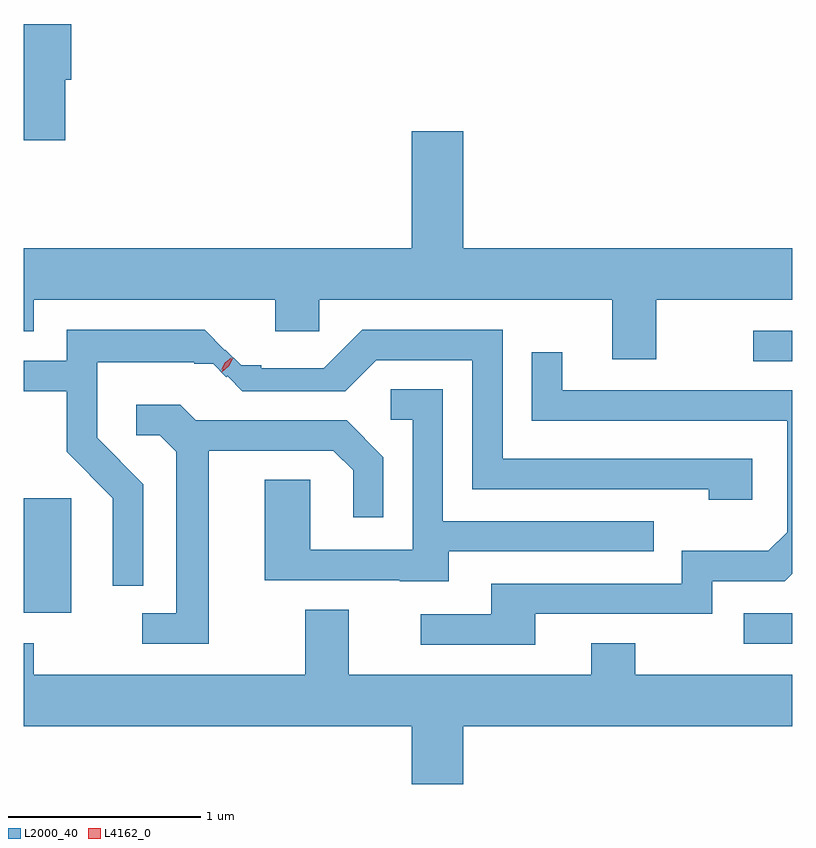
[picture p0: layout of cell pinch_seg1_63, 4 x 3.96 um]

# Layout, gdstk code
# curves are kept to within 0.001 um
import gdstk
lib = gdstk.Library(unit=1e-6, precision=1e-09)
def R(c, l, rs):  # rectangles x0, y0, x1, y1
    for r in rs: c.add(gdstk.rectangle(r[:2], r[2:], *l))
def P(c, l, *ps):  # polygons
    for p in ps: c.add(gdstk.Polygon(p, *l))
L2000_40 = (2000, 40)
L4162_0 = (4162, 0)

pinch_seg1_63 = lib.new_cell('pinch_seg1_63')
R(pinch_seg1_63, L2000_40, [(1035.983,846.726,1036.237,846.884), (1032.237,846.886,1032.484,847.484), (1036.033,848.196,1036.237,848.354)])
P(pinch_seg1_63, L2000_40, [(1032.454,849.661),(1032.484,849.661),(1032.484,849.951),(1032.237,849.951),(1032.237,849.346),(1032.454,849.346)],
  [(1035.529,848.516),(1036.237,848.516),(1036.237,848.784),(1034.524,848.784),(1034.524,849.394),(1034.256,849.394),(1034.256,848.784),(1032.237,848.784),(1032.237,848.351),(1032.289,848.351),(1032.289,848.516),(1033.546,848.516),(1033.546,848.351),(1033.774,848.351),(1033.774,848.516),(1035.301,848.516),(1035.301,848.206),(1035.529,848.206)],
  [(1032.859,847.557),(1032.619,847.797),(1032.619,848.191),(1033.125,848.191),(1033.125,848.182),(1033.223,848.182),(1033.292,848.112),(1033.298,848.118),(1033.374,848.041),(1033.911,848.041),(1034.072,848.201),(1034.571,848.201),(1034.571,847.531),(1035.801,847.531),(1035.801,847.476),(1036.029,847.476),(1036.029,847.689),(1034.729,847.689),(1034.729,848.359),(1033.998,848.359),(1033.799,848.159),(1033.473,848.159),(1033.473,848.175),(1033.369,848.175),(1033.287,848.257),(1033.284,848.254),(1033.18,848.359),(1032.461,848.359),(1032.461,848.199),(1032.237,848.199),(1032.237,848.041),(1032.461,848.041),(1032.461,847.724),(1032.701,847.484),(1032.701,847.028),(1032.859,847.028)],
  [(1034.899,846.881),(1035.819,846.881),(1035.819,847.051),(1036.197,847.051),(1036.237,847.091),(1036.237,848.044),(1035.039,848.044),(1035.039,848.243),(1034.881,848.243),(1034.881,847.886),(1036.211,847.886),(1036.211,847.307),(1036.113,847.209),(1035.661,847.209),(1035.661,847.039),(1034.671,847.039),(1034.671,846.879),(1034.303,846.879),(1034.303,846.721),(1034.899,846.721)],
  [(1034.449,847.206),(1035.517,847.206),(1035.517,847.364),(1034.419,847.364),(1034.419,848.049),(1034.148,848.049),(1034.148,847.891),(1034.261,847.891),(1034.261,847.214),(1033.729,847.214),(1033.729,847.579),(1033.491,847.579),(1033.491,847.056),(1034.195,847.056),(1034.195,847.051),(1034.449,847.051)],
  [(1033.199,847.731),(1033.849,847.731),(1033.951,847.629),(1033.951,847.383),(1034.109,847.383),(1034.109,847.697),(1033.917,847.889),(1033.132,847.889),(1033.052,847.969),(1032.823,847.969),(1032.823,847.811),(1032.944,847.811),(1033.031,847.724),(1033.031,846.884),(1032.853,846.884),(1032.853,846.726),(1033.199,846.726)],
  [(1034.524,846.296),(1036.237,846.296),(1036.237,846.564),(1035.419,846.564),(1035.419,846.729),(1035.191,846.729),(1035.191,846.564),(1033.929,846.564),(1033.929,846.904),(1033.701,846.904),(1033.701,846.564),(1032.289,846.564),(1032.289,846.729),(1032.237,846.729),(1032.237,846.296),(1034.256,846.296),(1034.256,845.996),(1034.524,845.996)])
P(pinch_seg1_63, L4162_0, [(1033.264,848.151),(1033.264,848.152),(1033.283,848.189),(1033.318,848.214),(1033.318,848.214),(1033.318,848.214),(1033.299,848.176),(1033.265,848.151)],
  [(1033.268,848.14),(1033.268,848.141),(1033.29,848.183),(1033.327,848.214),(1033.328,848.214),(1033.328,848.213),(1033.305,848.17),(1033.268,848.14)])

lib.write_gds('pinch_seg1_63.gds')
